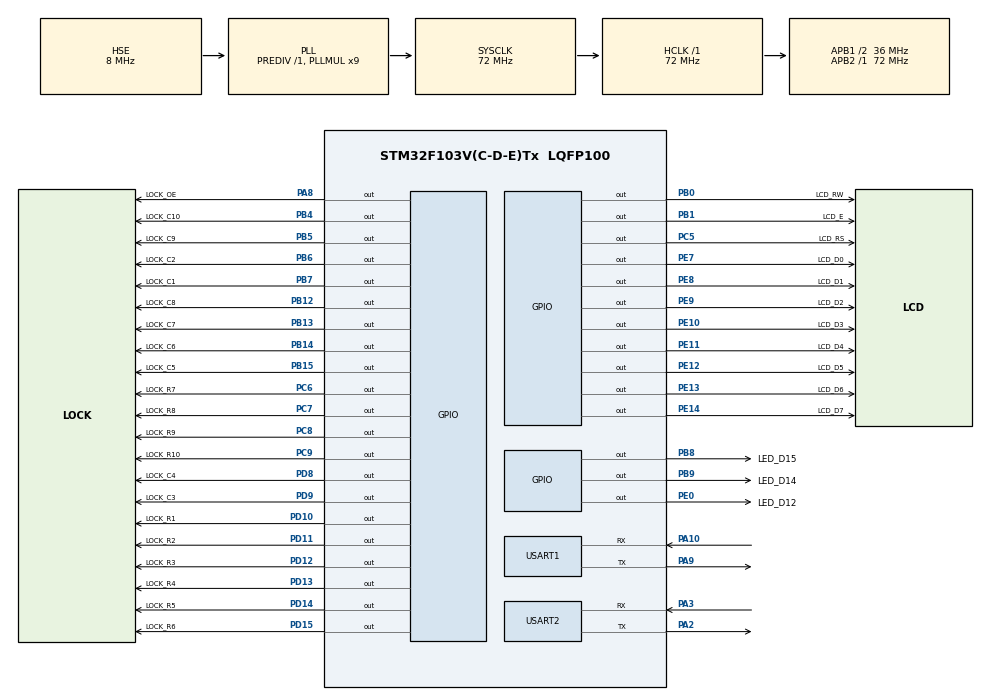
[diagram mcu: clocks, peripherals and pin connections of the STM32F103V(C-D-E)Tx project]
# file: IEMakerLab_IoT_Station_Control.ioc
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Mcu.Family=STM32F1
Mcu.Name=STM32F103V(C-D-E)Tx
Mcu.Package=LQFP100
NVIC.PriorityGroup=NVIC_PRIORITYGROUP_4
NVIC.USART1_IRQn=true\:0\:0\:false\:false\:true\:true\:true\:true
NVIC.USART2_IRQn=true\:0\:0\:false\:false\:true\:true\:true\:true
OSC_IN.Mode=HSE-External-Oscillator
OSC_IN.Signal=RCC_OSC_IN
OSC_OUT.Mode=HSE-External-Oscillator
OSC_OUT.Signal=RCC_OSC_OUT
PA10.Mode=Asynchronous
PA10.Signal=USART1_RX
PA13.Mode=Serial_Wire
PA13.Signal=SYS_JTMS-SWDIO
PA14.Mode=Serial_Wire
PA14.Signal=SYS_JTCK-SWCLK
PA2.Mode=Asynchronous
PA2.Signal=USART2_TX
PA3.Mode=Asynchronous
PA3.Signal=USART2_RX
PA8.GPIO_Label=LOCK_OE
PA8.Signal=GPIO_Output
PA9.Mode=Asynchronous
PA9.Signal=USART1_TX
PB0.GPIO_Label=LCD_RW
PB0.PinState=GPIO_PIN_RESET
PB0.Signal=GPIO_Output
PB1.GPIO_Label=LCD_E
PB1.PinState=GPIO_PIN_RESET
PB1.Signal=GPIO_Output
PB12.GPIO_Label=LOCK_C8
PB12.PinState=GPIO_PIN_SET
PB12.Signal=GPIO_Output
PB13.GPIO_Label=LOCK_C7
PB13.PinState=GPIO_PIN_SET
PB13.Signal=GPIO_Output
PB14.GPIO_Label=LOCK_C6
PB14.PinState=GPIO_PIN_SET
PB14.Signal=GPIO_Output
PB15.GPIO_Label=LOCK_C5
PB15.PinState=GPIO_PIN_SET
PB15.Signal=GPIO_Output
PB4.GPIO_Label=LOCK_C10
PB4.PinState=GPIO_PIN_SET
PB4.Signal=GPIO_Output
PB5.GPIO_Label=LOCK_C9
PB5.PinState=GPIO_PIN_SET
PB5.Signal=GPIO_Output
PB6.GPIO_Label=LOCK_C2
PB6.PinState=GPIO_PIN_RESET
PB6.Signal=GPIO_Output
PB7.GPIO_Label=LOCK_C1
PB7.PinState=GPIO_PIN_SET
PB7.Signal=GPIO_Output
PB8.GPIO_Label=LED_D15
PB8.Signal=GPIO_Output
PB9.GPIO_Label=LED_D14
PB9.Signal=GPIO_Output
PC5.GPIO_Label=LCD_RS
PC5.PinState=GPIO_PIN_RESET
PC5.Signal=GPIO_Output
PC6.GPIO_Label=LOCK_R7
PC6.Signal=GPIO_Output
PC7.GPIO_Label=LOCK_R8
PC7.Signal=GPIO_Output
PC8.GPIO_Label=LOCK_R9
PC8.PinState=GPIO_PIN_RESET
PC8.Signal=GPIO_Output
PC9.GPIO_Label=LOCK_R10
PC9.PinState=GPIO_PIN_RESET
PC9.Signal=GPIO_Output
PD10.GPIO_Label=LOCK_R1
PD10.PinState=GPIO_PIN_RESET
PD10.Signal=GPIO_Output
PD11.GPIO_Label=LOCK_R2
PD11.PinState=GPIO_PIN_RESET
PD11.Signal=GPIO_Output
PD12.GPIO_Label=LOCK_R3
PD12.Signal=GPIO_Output
PD13.GPIO_Label=LOCK_R4
PD13.Signal=GPIO_Output
PD14.GPIO_Label=LOCK_R5
PD14.Signal=GPIO_Output
PD15.GPIO_Label=LOCK_R6
PD15.Signal=GPIO_Output
PD8.GPIO_Label=LOCK_C4
PD8.PinState=GPIO_PIN_SET
PD8.Signal=GPIO_Output
PD9.GPIO_Label=LOCK_C3
PD9.PinState=GPIO_PIN_SET
PD9.Signal=GPIO_Output
PE0.GPIO_Label=LED_D12
PE0.Signal=GPIO_Output
PE10.GPIO_Label=LCD_D3
PE10.Signal=GPIO_Output
PE11.GPIO_Label=LCD_D4
PE11.Signal=GPIO_Output
PE12.GPIO_Label=LCD_D5
PE12.Signal=GPIO_Output
PE13.GPIO_Label=LCD_D6
PE13.Signal=GPIO_Output
PE14.GPIO_Label=LCD_D7
PE14.Signal=GPIO_Output
PE7.GPIO_Label=LCD_D0
PE7.Signal=GPIO_Output
PE8.GPIO_Label=LCD_D1
PE8.Signal=GPIO_Output
PE9.GPIO_Label=LCD_D2
PE9.Signal=GPIO_Output
ProjectManager.HeapSize=0x200
ProjectManager.StackSize=0x400
ProjectManager.TargetToolchain=MDK-ARM V5.32
RCC.AHBFreq_Value=72000000
RCC.APB1CLKDivider=RCC_HCLK_DIV2
RCC.APB1Freq_Value=36000000
RCC.APB1TimFreq_Value=72000000
RCC.APB2Freq_Value=72000000
RCC.APB2TimFreq_Value=72000000
RCC.HCLKFreq_Value=72000000
RCC.PLLMUL=RCC_PLL_MUL9
RCC.PLLSourceVirtual=RCC_PLLSOURCE_HSE
RCC.SYSCLKFreq_VALUE=72000000
RCC.SYSCLKSource=RCC_SYSCLKSOURCE_PLLCLK
RCC.USBFreq_Value=72000000
USART1.VirtualMode=VM_ASYNC
USART2.VirtualMode=VM_ASYNC
board=custom

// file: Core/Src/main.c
/* USER CODE BEGIN Header */
/**
  ******************************************************************************
  * @file           : main.c
  * @brief          : Main program body
  ******************************************************************************
  * @attention
  *
  * Copyright (c) 2023 STMicroelectronics.
  * All rights reserved.
  *
  * This software is licensed under terms that can be found in the LICENSE file
  * in the root directory of this software component.
  * If no LICENSE file comes with this software, it is provided AS-IS.
  *
  ******************************************************************************
  */
/* USER CODE END Header */
#include "main.h"
#include "usart.h"
#include "gpio.h"

/* USER CODE BEGIN Includes */
#include "lcd16x2.h"
#include <string.h>
#include <stdio.h>
/* USER CODE END Includes */

/* USER CODE BEGIN PV */
unsigned char Rx_data[10];  //  creating a buffer of 10 bytes
unsigned char LCD_msg[16];

//void HAL_UART_RxCpltCallback(UART_HandleTypeDef *huart)
//{

//		lcd16x2_clear();
//		//HAL_UART_Transmit(&huart1,(uint8_t *)123,3,10);
//		HAL_GPIO_TogglePin(LED_D14_GPIO_Port,LED_D14_Pin);
//		HAL_Delay(300);
//		lcd16x2_1stLine();
//		lcd16x2_printf(Rx_data);
//		HAL_UART_Receive_IT(&huart2, Rx_data, sizeof(Rx_data));
//
//}

/* USER CODE END PV */

void SystemClock_Config(void);

int main(void)
{

  /* MCU Configuration--------------------------------------------------------*/

  /* Reset of all peripherals, Initializes the Flash interface and the Systick. */
  HAL_Init();

  /* Configure the system clock */
  SystemClock_Config();

  /* Initialize all configured peripherals */
  MX_GPIO_Init();
  MX_USART1_UART_Init();
  MX_USART2_UART_Init();
  /* USER CODE BEGIN 2 */
	// <-------------- LED Config -------------->

	HAL_GPIO_WritePin(LED_D12_GPIO_Port,LED_D12_Pin,GPIO_PIN_SET);
	HAL_GPIO_WritePin(LED_D14_GPIO_Port,LED_D14_Pin,GPIO_PIN_RESET);
	HAL_GPIO_WritePin(LED_D15_GPIO_Port,LED_D15_Pin,GPIO_PIN_SET);
	// <-------------- LED Config -------------->

	// <-------------- LOCK Config -------------->
	// Column: SET->OPEN RESET->CLOSE
	// Row: SET->OPEN RESET->CLOSE
	HAL_GPIO_WritePin(LOCK_R1_GPIO_Port,LOCK_R1_Pin,GPIO_PIN_RESET);
	HAL_GPIO_WritePin(LOCK_R2_GPIO_Port,LOCK_R2_Pin,GPIO_PIN_RESET);
	HAL_GPIO_WritePin(LOCK_R3_GPIO_Port,LOCK_R3_Pin,GPIO_PIN_RESET);
	HAL_GPIO_WritePin(LOCK_R4_GPIO_Port,LOCK_R4_Pin,GPIO_PIN_RESET);
	HAL_GPIO_WritePin(LOCK_R5_GPIO_Port,LOCK_R5_Pin,GPIO_PIN_RESET);
	HAL_GPIO_WritePin(LOCK_R6_GPIO_Port,LOCK_R6_Pin,GPIO_PIN_RESET);
	HAL_GPIO_WritePin(LOCK_R7_GPIO_Port,LOCK_R7_Pin,GPIO_PIN_RESET);
	HAL_GPIO_WritePin(LOCK_R8_GPIO_Port,LOCK_R8_Pin,GPIO_PIN_RESET);
	HAL_GPIO_WritePin(LOCK_R9_GPIO_Port,LOCK_R9_Pin,GPIO_PIN_RESET);
	HAL_GPIO_WritePin(LOCK_R10_GPIO_Port,LOCK_R10_Pin,GPIO_PIN_RESET);

	HAL_GPIO_WritePin(LOCK_OE_GPIO_Port,LOCK_OE_Pin,GPIO_PIN_RESET);

	HAL_GPIO_WritePin(LOCK_C1_GPIO_Port,LOCK_C1_Pin,GPIO_PIN_RESET);
	HAL_GPIO_WritePin(LOCK_C2_GPIO_Port,LOCK_C2_Pin,GPIO_PIN_RESET);
	HAL_GPIO_WritePin(LOCK_C3_GPIO_Port,LOCK_C3_Pin,GPIO_PIN_RESET);
	HAL_GPIO_WritePin(LOCK_C4_GPIO_Port,LOCK_C4_Pin,GPIO_PIN_RESET);
	HAL_GPIO_WritePin(LOCK_C5_GPIO_Port,LOCK_C5_Pin,GPIO_PIN_RESET);
	HAL_GPIO_WritePin(LOCK_C6_GPIO_Port,LOCK_C6_Pin,GPIO_PIN_RESET);
	HAL_GPIO_WritePin(LOCK_C7_GPIO_Port,LOCK_C7_Pin,GPIO_PIN_RESET);
	HAL_GPIO_WritePin(LOCK_C8_GPIO_Port,LOCK_C8_Pin,GPIO_PIN_RESET);
	HAL_GPIO_WritePin(LOCK_C9_GPIO_Port,LOCK_C9_Pin,GPIO_PIN_RESET);
	HAL_GPIO_WritePin(LOCK_C10_GPIO_Port,LOCK_C10_Pin,GPIO_PIN_RESET);
	// <-------------- LOCK Config -------------->

	// <-------------- LCD Config -------------->
	lcd16x2_init_8bits(LCD_RS_GPIO_Port, LCD_RS_Pin, LCD_E_GPIO_Port, LCD_E_Pin,
											GPIOE, GPIO_PIN_7, GPIO_PIN_8, GPIO_PIN_9, GPIO_PIN_10,
											GPIOE, GPIO_PIN_11, GPIO_PIN_12, GPIO_PIN_13, GPIO_PIN_14);
	lcd16x2_printf("Starting");
	HAL_Delay(1000);
	// <-------------- LCD Config -------------->

	// <-------------- HUART Config -------------->
	//	HAL_UART_Receive_IT(&huart2, Rx_data, 5);
	// <-------------- HUART Config -------------->

	// <-------------- LOCK Port&Pin Config -------------->
	char msg[10];
	int esp2gd_row, esp2gd_col;
	int rowNum = 10;
	int colNum = 10;

	GPIO_TypeDef* lock_row_port[10] = {
	LOCK_R1_GPIO_Port,
	LOCK_R2_GPIO_Port,
	LOCK_R3_GPIO_Port,
	LOCK_R4_GPIO_Port,
	LOCK_R5_GPIO_Port,
	LOCK_R6_GPIO_Port,
	LOCK_R7_GPIO_Port,
	LOCK_R8_GPIO_Port,
	LOCK_R9_GPIO_Port,
	LOCK_R10_GPIO_Port};

	uint16_t lock_row_pin[10] = {
	LOCK_R1_Pin,
	LOCK_R2_Pin,
	LOCK_R3_Pin,
	LOCK_R4_Pin,
	LOCK_R5_Pin,
	LOCK_R6_Pin,
	LOCK_R7_Pin,
	LOCK_R8_Pin,
	LOCK_R9_Pin,
	LOCK_R10_Pin};

	GPIO_TypeDef* lock_col_port[10] = {
	LOCK_C1_GPIO_Port,
	LOCK_C2_GPIO_Port,
	LOCK_C3_GPIO_Port,
	LOCK_C4_GPIO_Port,
	LOCK_C5_GPIO_Port,
	LOCK_C6_GPIO_Port,
	LOCK_C7_GPIO_Port,
	LOCK_C8_GPIO_Port,
	LOCK_C9_GPIO_Port,
	LOCK_C10_GPIO_Port};

	uint16_t lock_col_pin[10] = {
	LOCK_C1_Pin,
	LOCK_C2_Pin,
	LOCK_C3_Pin,
	LOCK_C4_Pin,
	LOCK_C5_Pin,
	LOCK_C6_Pin,
	LOCK_C7_Pin,
	LOCK_C8_Pin,
	LOCK_C9_Pin,
	LOCK_C10_Pin};

	//HAL_GPIO_WritePin(lock_row_port[0],lock_row_pin[0],GPIO_PIN_SET);
	// <-------------- LOCK Port&Pin Config -------------->

  /* USER CODE END 2 */

  /* Infinite loop */
  /* USER CODE BEGIN WHILE */
  while (1)
  {

		//lcd16x2_clear();
		HAL_UART_Receive(&huart2, Rx_data, 10,10);
		for (int i=0;i<sizeof(Rx_data);i++){
			if(Rx_data[i] == 0xFF && Rx_data[(i + 1) % 10] == 0xFF && Rx_data[(i + 4) % 10] == 0xAA){
				esp2gd_row = Rx_data[(i + 2) % 10] - 48;
				esp2gd_col = Rx_data[(i + 3) % 10] - 48;
				sprintf(LCD_msg, "Row: %d Col: %d",esp2gd_row,esp2gd_col);
				lcd16x2_clear();
				lcd16x2_1stLine();
				lcd16x2_printf(LCD_msg);
				lcd16x2_2ndLine();
				lcd16x2_printf(Rx_data);
				HAL_GPIO_WritePin(lock_row_port[esp2gd_row],lock_row_pin[esp2gd_row],GPIO_PIN_SET);
				HAL_GPIO_WritePin(lock_col_port[esp2gd_col],lock_col_pin[esp2gd_col],GPIO_PIN_SET);
				HAL_Delay(200);
				HAL_GPIO_WritePin(lock_row_port[esp2gd_row],lock_row_pin[esp2gd_row],GPIO_PIN_RESET);
				HAL_GPIO_WritePin(lock_col_port[esp2gd_col],lock_col_pin[esp2gd_col],GPIO_PIN_RESET);
				HAL_Delay(100);
				memset(LCD_msg, 0, sizeof(LCD_msg));
				memset(Rx_data, 0, sizeof(Rx_data));
				break;
			}
		}
		//sprintf(Rx_data,"%d",Rx_data);
//		lcd16x2_clear();
//		lcd16x2_2ndLine();
//		lcd16x2_printf(Rx_data);
//		for(int i = 0;i<rowNum;++i){
//			lcd16x2_clear();
//			sprintf(msg, "Row: %d", i+1);
//			lcd16x2_1stLine();
//			lcd16x2_printf(msg);
//			HAL_Delay(2000);
//			for(int j = 0;j<rowNum;++j){
//				sprintf(msg, "Col: %d", j+1);
//				HAL_GPIO_WritePin(lock_row_port[i],lock_row_pin[i],GPIO_PIN_SET);
//				HAL_GPIO_WritePin(lock_col_port[j],lock_col_pin[j],GPIO_PIN_SET);
//				HAL_Delay(200);
//				HAL_GPIO_WritePin(lock_row_port[i],lock_row_pin[i],GPIO_PIN_RESET);
//				HAL_GPIO_WritePin(lock_col_port[j],lock_col_pin[j],GPIO_PIN_RESET);
//				lcd16x2_2ndLine();
//				lcd16x2_printf(msg);
//				HAL_Delay(1000);
//			}
//		}
//		HAL_GPIO_WritePin(LOCK_R1_GPIO_Port,LOCK_R1_Pin,GPIO_PIN_SET);
//		HAL_GPIO_WritePin(LOCK_C1_GPIO_Port,LOCK_C1_Pin,GPIO_PIN_SET);
//		lcd16x2_clear();
//		lcd16x2_1stLine();
//		lcd16x2_printf("1&1");
//		HAL_Delay(200);
//		HAL_GPIO_WritePin(LOCK_R1_GPIO_Port,LOCK_R1_Pin,GPIO_PIN_RESET);
//		HAL_GPIO_WritePin(LOCK_C1_GPIO_Port,LOCK_C1_Pin,GPIO_PIN_RESET);
//		HAL_Delay(2000);
//		HAL_GPIO_WritePin(LOCK_R2_GPIO_Port,LOCK_R2_Pin,GPIO_PIN_SET);
//		HAL_GPIO_WritePin(LOCK_C2_GPIO_Port,LOCK_C2_Pin,GPIO_PIN_SET);
//		lcd16x2_1stLine();
//		lcd16x2_printf("2&2");
//		HAL_Delay(200);
//		HAL_GPIO_WritePin(LOCK_R2_GPIO_Port,LOCK_R2_Pin,GPIO_PIN_RESET);
//		HAL_GPIO_WritePin(LOCK_C2_GPIO_Port,LOCK_C2_Pin,GPIO_PIN_RESET);
//		HAL_Delay(2000);
//		HAL_GPIO_WritePin(LOCK_R3_GPIO_Port,LOCK_R3_Pin,GPIO_PIN_SET);
//		HAL_GPIO_WritePin(LOCK_C3_GPIO_Port,LOCK_C3_Pin,GPIO_PIN_SET);
//		lcd16x2_1stLine();
//		lcd16x2_printf("3&3");
//		HAL_Delay(200);
//		HAL_GPIO_WritePin(LOCK_R3_GPIO_Port,LOCK_R3_Pin,GPIO_PIN_RESET);
//		HAL_GPIO_WritePin(LOCK_C3_GPIO_Port,LOCK_C3_Pin,GPIO_PIN_RESET);
//		HAL_Delay(2000);
//		HAL_GPIO_WritePin(LOCK_R4_GPIO_Port,LOCK_R4_Pin,GPIO_PIN_SET);
//		HAL_GPIO_WritePin(LOCK_C4_GPIO_Port,LOCK_C4_Pin,GPIO_PIN_SET);
//		lcd16x2_1stLine();
//		lcd16x2_printf("4&4");
//		HAL_Delay(200);
//		HAL_GPIO_WritePin(LOCK_R4_GPIO_Port,LOCK_R4_Pin,GPIO_PIN_RESET);
//		HAL_GPIO_WritePin(LOCK_C4_GPIO_Port,LOCK_C4_Pin,GPIO_PIN_RESET);
//		HAL_Delay(2000);
//		HAL_GPIO_WritePin(LOCK_R5_GPIO_Port,LOCK_R5_Pin,GPIO_PIN_SET);
//		HAL_GPIO_WritePin(LOCK_C5_GPIO_Port,LOCK_C5_Pin,GPIO_PIN_SET);
//		lcd16x2_1stLine();
//		lcd16x2_printf("5&5");
//		HAL_Delay(200);
//		HAL_GPIO_WritePin(LOCK_R5_GPIO_Port,LOCK_R5_Pin,GPIO_PIN_RESET);
//		HAL_GPIO_WritePin(LOCK_C5_GPIO_Port,LOCK_C5_Pin,GPIO_PIN_RESET);
//		HAL_Delay(2000);

//    lcd16x2_2ndLine();
//    lcd16x2_printf("%.2f C", 25.7824);
//    HAL_Delay(1000);
//		HAL_GPIO_TogglePin(LED_D12_GPIO_Port,LED_D12_Pin);
//		HAL_Delay(500);
//		HAL_GPIO_TogglePin(LOCK_R1_GPIO_Port,LOCK_R1_Pin);
//		HAL_Delay(500);
//		HAL_GPIO_TogglePin(LED_D14_GPIO_Port,LED_D14_Pin);
//		HAL_Delay(500);
//		HAL_GPIO_TogglePin(LOCK_R2_GPIO_Port,LOCK_R2_Pin);
//		HAL_Delay(500);
//		HAL_GPIO_TogglePin(LED_D15_GPIO_Port,LED_D15_Pin);
//		HAL_Delay(500);
//		HAL_GPIO_TogglePin(LOCK_C1_GPIO_Port,LOCK_C1_Pin);
//		HAL_Delay(500);
//
//
    /* USER CODE END WHILE */

  }
}

void SystemClock_Config(void)
{
  RCC_OscInitTypeDef RCC_OscInitStruct = {0};
  RCC_ClkInitTypeDef RCC_ClkInitStruct = {0};

  /** Initializes the RCC Oscillators according to the specified parameters
  * in the RCC_OscInitTypeDef structure.
  */
  RCC_OscInitStruct.OscillatorType = RCC_OSCILLATORTYPE_HSE;
  RCC_OscInitStruct.HSEState = RCC_HSE_ON;
  RCC_OscInitStruct.HSEPredivValue = RCC_HSE_PREDIV_DIV1;
  RCC_OscInitStruct.HSIState = RCC_HSI_ON;
  RCC_OscInitStruct.PLL.PLLState = RCC_PLL_ON;
  RCC_OscInitStruct.PLL.PLLSource = RCC_PLLSOURCE_HSE;
  RCC_OscInitStruct.PLL.PLLMUL = RCC_PLL_MUL9;
  if (HAL_RCC_OscConfig(&RCC_OscInitStruct) != HAL_OK)
  {
    Error_Handler();
  }

  /** Initializes the CPU, AHB and APB buses clocks
  */
  RCC_ClkInitStruct.ClockType = RCC_CLOCKTYPE_HCLK|RCC_CLOCKTYPE_SYSCLK
                              |RCC_CLOCKTYPE_PCLK1|RCC_CLOCKTYPE_PCLK2;
  RCC_ClkInitStruct.SYSCLKSource = RCC_SYSCLKSOURCE_PLLCLK;
  RCC_ClkInitStruct.AHBCLKDivider = RCC_SYSCLK_DIV1;
  RCC_ClkInitStruct.APB1CLKDivider = RCC_HCLK_DIV2;
  RCC_ClkInitStruct.APB2CLKDivider = RCC_HCLK_DIV1;

  if (HAL_RCC_ClockConfig(&RCC_ClkInitStruct, FLASH_LATENCY_2) != HAL_OK)
  {
    Error_Handler();
  }
}

void Error_Handler(void)
{
  __disable_irq();
  while (1)
  {
  }
}
